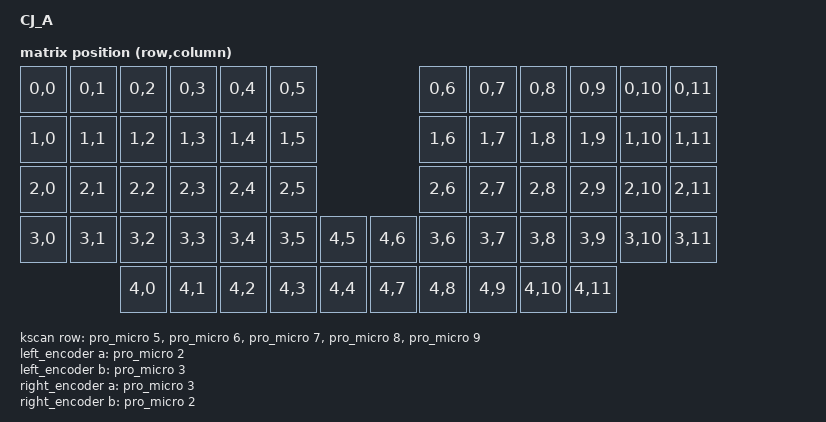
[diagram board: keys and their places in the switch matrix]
#include <nordic/nrf52840_qiaa.dtsi>
#include <dt-bindings/zmk/matrix_transform.h>
#include <physical_layouts.dtsi>

/ {
    model = "CJ_A";
    compatible = "cj_a";

    chosen {
        zephyr,code-partition = &code_partition;
        zephyr,sram = &sram0;
        zephyr,flash = &flash0;
        // Uncomment this if you enabled one of the "vddh" nodes below.
        // zmk,battery = &vbatt;
        zmk,kscan = &kscan;
        zmk,physical-layout = &cj_a_physical_layout;
    };

    kscan: kscan {
        // If the hardware does not use a switch matrix, change this to the
        // appropriate driver and update the properties below to match.
        // See https://zmk.dev/docs/config/kscan for supported key scan drivers.
        compatible = "zmk,kscan-gpio-matrix";
        // Set this to "col2row" or "row2col" to match the hardware. If using
        // "row2col", change the col-gpios to (GPIO_ACTIVE_HIGH | GPIO_PULL_DOWN)
        // and the row-gpios to GPIO_ACTIVE_HIGH.
        diode-direction = "col2row";
        wakeup-source;

        // Replace these comments with the GPIO pins in the matrix.
        // See https://zmk.dev/docs/development/hardware-integration/new-shield#shield-overlays

        row-gpios
            = <&pro_micro 5 (GPIO_ACTIVE_HIGH | GPIO_PULL_DOWN)>
            , <&pro_micro 6 (GPIO_ACTIVE_HIGH | GPIO_PULL_DOWN)>
            , <&pro_micro 7 (GPIO_ACTIVE_HIGH | GPIO_PULL_DOWN)>
            , <&pro_micro 8 (GPIO_ACTIVE_HIGH | GPIO_PULL_DOWN)>
            , <&pro_micro 9 (GPIO_ACTIVE_HIGH | GPIO_PULL_DOWN)>
            ;
    };

    cj_a_physical_layout: cj_a_physical_layout {

        // Edit this to define the positions and sizes of the keys, or remove it
        // if your keyboard will not support ZMK Studio.
        // https://zmk.dev/docs/development/hardware-integration/physical-layouts#optional-keys-property
        keys  //                     w   h    x    y     rot    rx    ry
            = <&key_physical_attrs 100 100    0   50       0     0     0>
            , <&key_physical_attrs 100 100  100   37       0     0     0>
            , <&key_physical_attrs 100 100  200   12       0     0     0>
            , <&key_physical_attrs 100 100  300    0       0     0     0>
            , <&key_physical_attrs 100 100  400   12       0     0     0>
            , <&key_physical_attrs 100 100  500   25       0     0     0>
            , <&key_physical_attrs 100 100 1050   25       0     0     0>
            , <&key_physical_attrs 100 100 1150   12       0     0     0>
            , <&key_physical_attrs 100 100 1250    0       0     0     0>
            , <&key_physical_attrs 100 100 1350   12       0     0     0>
            , <&key_physical_attrs 100 100 1450   37       0     0     0>
            , <&key_physical_attrs 100 100 1550   50       0     0     0>
            , <&key_physical_attrs 100 100    0  150       0     0     0>
            , <&key_physical_attrs 100 100  100  137       0     0     0>
            , <&key_physical_attrs 100 100  200  112       0     0     0>
            , <&key_physical_attrs 100 100  300  100       0     0     0>
            , <&key_physical_attrs 100 100  400  112       0     0     0>
            , <&key_physical_attrs 100 100  500  125       0     0     0>
            , <&key_physical_attrs 100 100 1050  125       0     0     0>
            , <&key_physical_attrs 100 100 1150  112       0     0     0>
            , <&key_physical_attrs 100 100 1250  100       0     0     0>
            , <&key_physical_attrs 100 100 1350  112       0     0     0>
            , <&key_physical_attrs 100 100 1450  137       0     0     0>
            , <&key_physical_attrs 100 100 1550  150       0     0     0>
            , <&key_physical_attrs 100 100    0  250       0     0     0>
            , <&key_physical_attrs 100 100  100  237       0     0     0>
            , <&key_physical_attrs 100 100  200  212       0     0     0>
            , <&key_physical_attrs 100 100  300  200       0     0     0>
            , <&key_physical_attrs 100 100  400  212       0     0     0>
            , <&key_physical_attrs 100 100  500  225       0     0     0>
            , <&key_physical_attrs 100 100 1050  225       0     0     0>
            , <&key_physical_attrs 100 100 1150  212       0     0     0>
            , <&key_physical_attrs 100 100 1250  200       0     0     0>
            , <&key_physical_attrs 100 100 1350  212       0     0     0>
            , <&key_physical_attrs 100 100 1450  237       0     0     0>
            , <&key_physical_attrs 100 100 1550  250       0     0     0>
            , <&key_physical_attrs 100 100    0  350       0     0     0>
            , <&key_physical_attrs 100 100  100  337       0     0     0>
            , <&key_physical_attrs 100 100  200  312       0     0     0>
            , <&key_physical_attrs 100 100  300  300       0     0     0>
            , <&key_physical_attrs 100 100  400  312       0     0     0>
            , <&key_physical_attrs 100 100  500  325       0     0     0>
            , <&key_physical_attrs 100 100  600  275       0     0     0>
            , <&key_physical_attrs 100 100  950  275       0     0     0>
            , <&key_physical_attrs 100 100 1050  325       0     0     0>
            , <&key_physical_attrs 100 100 1150  312       0     0     0>
            , <&key_physical_attrs 100 100 1250  300       0     0     0>
            , <&key_physical_attrs 100 100 1350  312       0     0     0>
            , <&key_physical_attrs 100 100 1450  337       0     0     0>
            , <&key_physical_attrs 100 100 1550  350       0     0     0>
            , <&key_physical_attrs 100 100  250  412       0     0     0>
            , <&key_physical_attrs 100 100  350  415       0     0     0>
            , <&key_physical_attrs 100 100  450  425       0     0     0>
            , <&key_physical_attrs 100 150  575  400    3000   625   475>
            , <&key_physical_attrs 100 150  975  400 (-3000)  1025   475>
            , <&key_physical_attrs 100 100 1100  425       0     0     0>
            , <&key_physical_attrs 100 100 1200  415       0     0     0>
            , <&key_physical_attrs 100 100 1300  415       0     0     0>
            ;
    };

    left_encoder: encoder_left {
        compatible = "alps,ec11";
        a-gpios = <&pro_micro 2 (GPIO_ACTIVE_HIGH | GPIO_PULL_UP)>;
        b-gpios = <&pro_micro 3 (GPIO_ACTIVE_HIGH | GPIO_PULL_UP)>;
        steps = <80>;
        status = "disabled";
    };

    right_encoder: encoder_right {
        compatible = "alps,ec11";
        a-gpios = <&pro_micro 3 (GPIO_ACTIVE_HIGH | GPIO_PULL_UP)>;
        b-gpios = <&pro_micro 2 (GPIO_ACTIVE_HIGH | GPIO_PULL_UP)>;
        steps = <80>;
        status = "disabled";
    };

    sensors: sensors {
        compatible = "zmk,keymap-sensors";
        sensors = <&left_encoder &right_encoder>;
        triggers-per-rotation = <20>;
    };


    default_transform: default_transform {
        // See https://zmk.dev/docs/development/hardware-integration/new-shield#matrix-transform
        // for how to configure this
        compatible = "zmk,matrix-transform";
        columns = <12>;
        rows = <5>;
        
        map = <
RC(0,0) RC(0,1) RC(0,2) RC(0,3) RC(0,4) RC(0,5)                 RC(0,6) RC(0,7) RC(0,8)  RC(0,9) RC(0,10) RC(0,11)
RC(1,0) RC(1,1) RC(1,2) RC(1,3) RC(1,4) RC(1,5)                 RC(1,6) RC(1,7) RC(1,8)  RC(1,9) RC(1,10) RC(1,11)
RC(2,0) RC(2,1) RC(2,2) RC(2,3) RC(2,4) RC(2,5)                 RC(2,6) RC(2,7) RC(2,8)  RC(2,9) RC(2,10) RC(2,11)
RC(3,0) RC(3,1) RC(3,2) RC(3,3) RC(3,4) RC(3,5) RC(4,5) RC(4,6) RC(3,6) RC(3,7) RC(3,8)  RC(3,9) RC(3,10) RC(3,11)
                RC(4,0) RC(4,1) RC(4,2) RC(4,3) RC(4,4) RC(4,7) RC(4,8) RC(4,9) RC(4,10) RC(4,11)
        >;
    };
};

 &pro_micro_i2c {
     status = "okay";
 
     oled: ssd1306@3c {
         compatible = "solomon,ssd1306fb";
         reg = <0x3c>;
         width = <128>;
         height = <32>;
         segment-offset = <0>;
         page-offset = <0>;
         display-offset = <0>;
         multiplex-ratio = <31>;
         segment-remap;
         com-invdir;
         com-sequential;
         inversion-on;
         prechargep = <0x22>;
     };
 };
